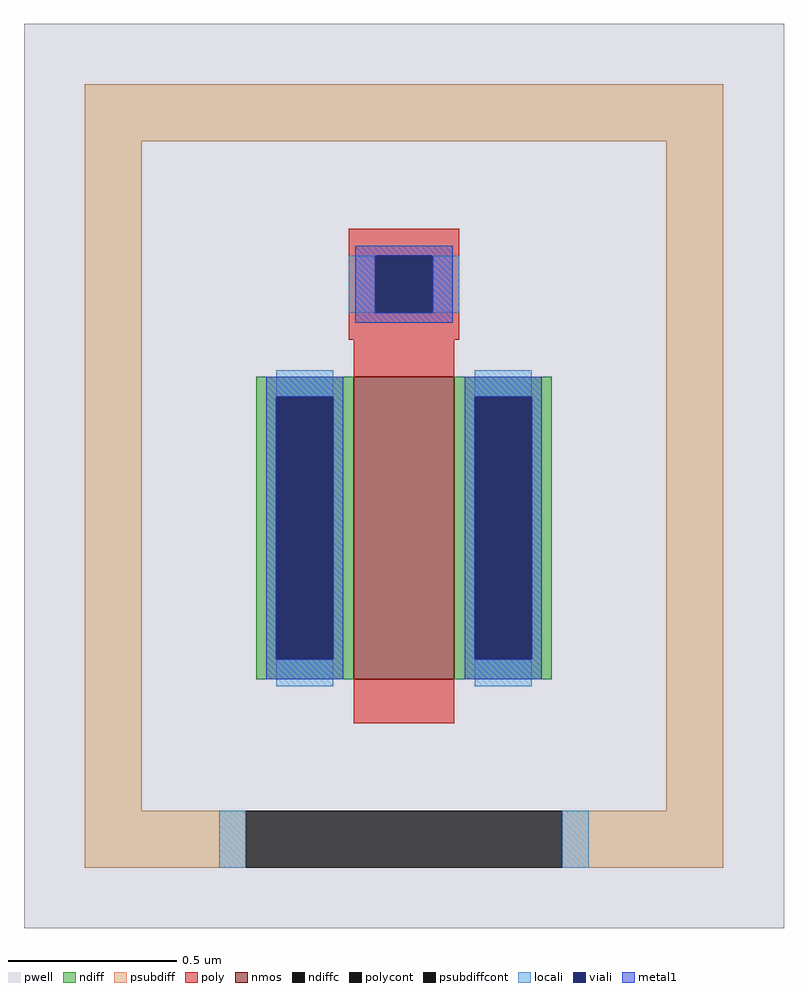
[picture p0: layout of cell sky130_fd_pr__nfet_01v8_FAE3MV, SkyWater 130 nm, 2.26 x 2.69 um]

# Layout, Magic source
magic
tech sky130A
magscale 1 2
<< pwell >>
rect -226 -269 226 269
<< nmos >>
rect -30 -121 30 59
<< ndiff >>
rect -88 47 -30 59
rect -88 -109 -76 47
rect -42 -109 -30 47
rect -88 -121 -30 -109
rect 30 47 88 59
rect 30 -109 42 47
rect 76 -109 88 47
rect 30 -121 88 -109
<< ndiffc >>
rect -76 -109 -42 47
rect 42 -109 76 47
<< psubdiff >>
rect -190 199 190 233
rect -190 -199 -156 199
rect 156 -199 190 199
rect -190 -233 -94 -199
rect 94 -233 190 -199
<< psubdiffcont >>
rect -94 -233 94 -199
<< poly >>
rect -33 131 33 147
rect -33 97 -17 131
rect 17 97 33 131
rect -33 81 33 97
rect -30 59 30 81
rect -30 -147 30 -121
<< polycont >>
rect -17 97 17 131
<< locali >>
rect -33 97 -17 131
rect 17 97 33 131
rect -76 47 -42 63
rect -76 -125 -42 -109
rect 42 47 76 63
rect 42 -125 76 -109
rect -110 -233 -94 -199
rect 94 -233 110 -199
<< viali >>
rect -17 97 17 131
rect -76 -109 -42 47
rect 42 -109 76 47
<< metal1 >>
rect -29 131 29 137
rect -29 97 -17 131
rect 17 97 29 131
rect -29 91 29 97
rect -82 47 -36 59
rect -82 -109 -76 47
rect -42 -109 -36 47
rect -82 -121 -36 -109
rect 36 47 82 59
rect 36 -109 42 47
rect 76 -109 82 47
rect 36 -121 82 -109
<< properties >>
string FIXED_BBOX -173 -216 173 216
string gencell sky130_fd_pr__nfet_01v8
string library sky130
string parameters w 0.900 l 0.300 m 1 nf 1 diffcov 100 polycov 100 guard 1 glc 0 grc 0 gtc 0 gbc 1 tbcov 100 rlcov 100 topc 1 botc 0 poverlap 0 doverlap 1 lmin 0.15 wmin 0.42 compatible {sky130_fd_pr__nfet_01v8 sky130_fd_pr__nfet_01v8_lvt  sky130_fd_bs_flash__special_sonosfet_star  sky130_fd_pr__nfet_g5v0d10v5 sky130_fd_pr__nfet_05v0_nvt  sky130_fd_pr__nfet_03v3_nvt} full_metal 0 viasrc 100 viadrn 100 viagate 100 viagb 0 viagr 0 viagl 0 viagt 0
<< end >>
